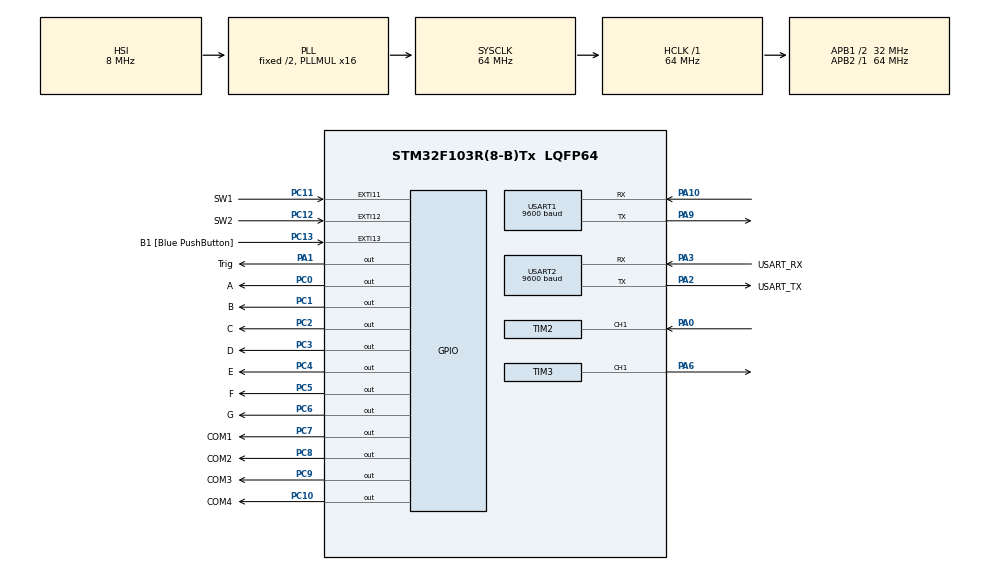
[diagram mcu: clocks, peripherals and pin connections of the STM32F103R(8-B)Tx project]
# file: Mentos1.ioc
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Mcu.Family=STM32F1
Mcu.Name=STM32F103R(8-B)Tx
Mcu.Package=LQFP64
NVIC.EXTI15_10_IRQn=true\:0\:0\:false\:false\:true\:true\:true\:true
NVIC.PriorityGroup=NVIC_PRIORITYGROUP_4
NVIC.TIM2_IRQn=true\:0\:0\:false\:false\:true\:true\:true\:true
PA0-WKUP.Signal=S_TIM2_CH1_ETR
PA1.GPIO_Label=Trig
PA1.Signal=GPIO_Output
PA10.Mode=Asynchronous
PA10.Signal=USART1_RX
PA13.GPIO_Label=TMS
PA13.Mode=Serial_Wire
PA13.Signal=SYS_JTMS-SWDIO
PA14.GPIO_Label=TCK
PA14.Mode=Serial_Wire
PA14.Signal=SYS_JTCK-SWCLK
PA2.GPIO_Label=USART_TX
PA2.GPIO_Mode=GPIO_MODE_AF_PP
PA2.GPIO_PuPd=GPIO_NOPULL
PA2.GPIO_Speed=GPIO_SPEED_FREQ_LOW
PA2.Mode=Asynchronous
PA2.Signal=USART2_TX
PA3.GPIO_Label=USART_RX
PA3.GPIO_Mode=GPIO_MODE_AF_PP
PA3.GPIO_PuPd=GPIO_NOPULL
PA3.GPIO_Speed=GPIO_SPEED_FREQ_LOW
PA3.Mode=Asynchronous
PA3.Signal=USART2_RX
PA6.Signal=S_TIM3_CH1
PA9.Mode=Asynchronous
PA9.Signal=USART1_TX
PC0.GPIO_Label=A
PC0.Signal=GPIO_Output
PC1.GPIO_Label=B
PC1.Signal=GPIO_Output
PC10.GPIO_Label=COM4
PC10.Signal=GPIO_Output
PC11.GPIO_Label=SW1
PC11.Signal=GPXTI11
PC12.GPIO_Label=SW2
PC12.Signal=GPXTI12
PC13-TAMPER-RTC.GPIO_Label=B1 [Blue PushButton]
PC13-TAMPER-RTC.GPIO_PuPd=GPIO_NOPULL
PC13-TAMPER-RTC.Signal=GPXTI13
PC14-OSC32_IN.Mode=LSE-External-Oscillator
PC14-OSC32_IN.Signal=RCC_OSC32_IN
PC15-OSC32_OUT.Mode=LSE-External-Oscillator
PC15-OSC32_OUT.Signal=RCC_OSC32_OUT
PC2.GPIO_Label=C
PC2.Signal=GPIO_Output
PC3.GPIO_Label=D
PC3.Signal=GPIO_Output
PC4.GPIO_Label=E
PC4.Signal=GPIO_Output
PC5.GPIO_Label=F
PC5.Signal=GPIO_Output
PC6.GPIO_Label=G
PC6.Signal=GPIO_Output
PC7.GPIO_Label=COM1
PC7.Signal=GPIO_Output
PC8.GPIO_Label=COM2
PC8.Signal=GPIO_Output
PC9.GPIO_Label=COM3
PC9.Signal=GPIO_Output
PD0-OSC_IN.Mode=HSE-External-Clock-Source
PD0-OSC_IN.Signal=RCC_OSC_IN
PD1-OSC_OUT.Mode=HSE-External-Clock-Source
PD1-OSC_OUT.Signal=RCC_OSC_OUT
ProjectManager.HeapSize=0x200
ProjectManager.StackSize=0x400
ProjectManager.TargetToolchain=STM32CubeIDE
RCC.AHBFreq_Value=64000000
RCC.APB1CLKDivider=RCC_HCLK_DIV2
RCC.APB1Freq_Value=32000000
RCC.APB1TimFreq_Value=64000000
RCC.APB2Freq_Value=64000000
RCC.APB2TimFreq_Value=64000000
RCC.HCLKFreq_Value=64000000
RCC.PLLMUL=RCC_PLL_MUL16
RCC.RTCClockSelection=RCC_RTCCLKSOURCE_LSE
RCC.SYSCLKFreq_VALUE=64000000
RCC.SYSCLKSource=RCC_SYSCLKSOURCE_PLLCLK
RCC.USBFreq_Value=64000000
SH.S_TIM2_CH1_ETR.0=TIM2_CH1,Input_Capture1_from_TI1
SH.S_TIM3_CH1.0=TIM3_CH1,PWM Generation1 CH1
TIM1.Prescaler=64-1
TIM2.Channel-Input_Capture1_from_TI1=TIM_CHANNEL_1
TIM2.Period=65535
TIM2.Prescaler=64-1
TIM3.Channel-PWM\ Generation1\ CH1=TIM_CHANNEL_1
TIM3.Period=20000-1
TIM3.Prescaler=64-1
TIM3.Pulse-PWM\ Generation1\ CH1=2500
USART1.BaudRate=9600
USART1.VirtualMode=VM_ASYNC
USART2.BaudRate=9600
USART2.VirtualMode=VM_ASYNC
VP_TIM1_VS_ClockSourceINT.Mode=Internal
VP_TIM2_VS_ClockSourceINT.Mode=Internal
VP_TIM3_VS_ClockSourceINT.Mode=Internal
board=NUCLEO-F103RB

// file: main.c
/* USER CODE BEGIN Header */
/**
  ******************************************************************************
  * @file           : main.c
  * @brief          : Main program body
  ******************************************************************************
  * @attention
  *
  * Copyright (c) 2022 STMicroelectronics.
  * All rights reserved.
  *
  * This software is licensed under terms that can be found in the LICENSE file
  * in the root directory of this software component.
  * If no LICENSE file comes with this software, it is provided AS-IS.
  *
  ******************************************************************************
  */
/* USER CODE END Header */
#include "main.h"

/* USER CODE BEGIN PD */
#define TxBufferSize (countof(TxBuffer)-1)
#define RxBufferSize 0xFF
#define countof(a)	(sizeof(a) / sizeof(*(a)))
/* USER CODE END PD */

 TIM_HandleTypeDef htim1;
TIM_HandleTypeDef htim2;
TIM_HandleTypeDef htim3;

UART_HandleTypeDef huart1;
UART_HandleTypeDef huart2;

/* USER CODE BEGIN PV */
 int flag_SW1=0;
 int flag_SW2=0;
 int count=0;
 int Mentos =0;

 uint32_t IC1, IC2;
 int CaptureFlag;
 float flag_distance;
 int inventory;
/* USER CODE END PV */

void SystemClock_Config(void);
static void MX_GPIO_Init(void);
static void MX_USART2_UART_Init(void);
static void MX_TIM2_Init(void);
static void MX_TIM3_Init(void);
static void MX_TIM1_Init(void);
static void MX_USART1_UART_Init(void);
/* USER CODE BEGIN PFP */
#ifdef __GNUC__
/* With GCC, small printf (option LD Linker->Libraries->Small printf
   set to 'Yes') calls __io_putchar() */
#define PUTCHAR_PROTOTYPE int __io_putchar(int ch)
#else
#define PUTCHAR_PROTOTYPE int fputc(int ch, FILE *f)
#endif /* __GNUC__ */

PUTCHAR_PROTOTYPE
{
  /* Place your implementation of fputc here */
  /* e.g. write a character to the USART1 and Loop until the end of transmission */
  HAL_UART_Transmit(&huart1, (uint8_t *)&ch, 1, 0xFFFF);

  return ch;
}
/* USER CODE END PFP */

/* USER CODE BEGIN 0 */

void delay_us(uint16_t delay)
{
	__HAL_TIM_SET_COUNTER(&htim1, 0);
	while(__HAL_TIM_GET_COUNTER(&htim1) < delay);
}

void Trig()
{
	HAL_GPIO_WritePin(GPIOA, Trig_Pin, GPIO_PIN_SET);
	delay_us(10);
	HAL_GPIO_WritePin(GPIOA, Trig_Pin, GPIO_PIN_RESET);
}
/* USER CODE END 0 */

int main(void)
{

  /* MCU Configuration--------------------------------------------------------*/

  /* Reset of all peripherals, Initializes the Flash interface and the Systick. */
  HAL_Init();

  /* Configure the system clock */
  SystemClock_Config();

  /* Initialize all configured peripherals */
  MX_GPIO_Init();
  MX_USART2_UART_Init();
  MX_TIM2_Init();
  MX_TIM3_Init();
  MX_TIM1_Init();
  MX_USART1_UART_Init();
  /* USER CODE BEGIN 2 */
  HAL_TIM_PWM_Start(&htim3, TIM_CHANNEL_1);
  HAL_TIM_Base_Start(&htim1);
  HAL_TIM_IC_Start_IT(&htim2, TIM_CHANNEL_1);
  /* USER CODE END 2 */

  /* Infinite loop */
  /* USER CODE BEGIN WHILE */
  while (1)
  {
	Trig();
	printf("%d\r\n", inventory);
	HAL_Delay(250);

	while(flag_SW1==1) //포토인터럽트
	{
		//1
		HAL_GPIO_WritePin(GPIOC, COM1_Pin, GPIO_PIN_RESET);
		HAL_GPIO_WritePin(GPIOC, COM2_Pin, GPIO_PIN_SET);
		HAL_GPIO_WritePin(GPIOC, COM3_Pin, GPIO_PIN_SET);
		HAL_GPIO_WritePin(GPIOC, COM4_Pin, GPIO_PIN_SET);
		HAL_GPIO_WritePin(GPIOC, B_Pin, GPIO_PIN_SET);
		HAL_GPIO_WritePin(GPIOC, C_Pin, GPIO_PIN_SET);
		HAL_Delay(100);
		HAL_GPIO_WritePin(GPIOC, B_Pin, GPIO_PIN_RESET);
		HAL_GPIO_WritePin(GPIOC, C_Pin, GPIO_PIN_RESET);
		//count = 1;
		if(flag_SW2==1) //스위치
		{
			//2
			HAL_GPIO_WritePin(GPIOC, COM1_Pin, GPIO_PIN_SET);
			HAL_GPIO_WritePin(GPIOC, COM2_Pin, GPIO_PIN_RESET);
			HAL_GPIO_WritePin(GPIOC, COM3_Pin, GPIO_PIN_SET);
			HAL_GPIO_WritePin(GPIOC, COM4_Pin, GPIO_PIN_SET);
			HAL_GPIO_WritePin(GPIOC, B_Pin | D_Pin, GPIO_PIN_SET);
			HAL_GPIO_WritePin(GPIOC, A_Pin | E_Pin, GPIO_PIN_SET);
			HAL_GPIO_WritePin(GPIOC, G_Pin, GPIO_PIN_SET);
			HAL_Delay(1000);
			HAL_GPIO_WritePin(GPIOC, B_Pin | D_Pin, GPIO_PIN_RESET);
			HAL_GPIO_WritePin(GPIOC, A_Pin | E_Pin, GPIO_PIN_RESET);
			HAL_GPIO_WritePin(GPIOC, G_Pin, GPIO_PIN_RESET);

			//3
			HAL_GPIO_WritePin(GPIOC, COM1_Pin, GPIO_PIN_SET);
			HAL_GPIO_WritePin(GPIOC, COM2_Pin, GPIO_PIN_SET);
			HAL_GPIO_WritePin(GPIOC, COM3_Pin, GPIO_PIN_RESET);
			HAL_GPIO_WritePin(GPIOC, COM4_Pin, GPIO_PIN_SET);
			HAL_GPIO_WritePin(GPIOC, B_Pin | D_Pin | C_Pin, GPIO_PIN_SET);
			HAL_GPIO_WritePin(GPIOC, A_Pin, GPIO_PIN_SET);
			HAL_GPIO_WritePin(GPIOC, G_Pin, GPIO_PIN_SET);
			HAL_Delay(1000);
			HAL_GPIO_WritePin(GPIOC, B_Pin | D_Pin | C_Pin, GPIO_PIN_RESET);
			HAL_GPIO_WritePin(GPIOC, A_Pin, GPIO_PIN_RESET);
			HAL_GPIO_WritePin(GPIOC, G_Pin, GPIO_PIN_RESET);

			//4
			HAL_GPIO_WritePin(GPIOC, COM1_Pin, GPIO_PIN_SET);
			HAL_GPIO_WritePin(GPIOC, COM2_Pin, GPIO_PIN_SET);
			HAL_GPIO_WritePin(GPIOC, COM3_Pin, GPIO_PIN_SET);
			HAL_GPIO_WritePin(GPIOC, COM4_Pin, GPIO_PIN_RESET);
			HAL_GPIO_WritePin(GPIOC, B_Pin | C_Pin , GPIO_PIN_SET);
			HAL_GPIO_WritePin(GPIOC, F_Pin, GPIO_PIN_SET);
			HAL_GPIO_WritePin(GPIOC, G_Pin, GPIO_PIN_SET);
			HAL_Delay(1000);
			HAL_GPIO_WritePin(GPIOC, B_Pin | C_Pin, GPIO_PIN_RESET);
			HAL_GPIO_WritePin(GPIOC, F_Pin, GPIO_PIN_RESET);
			HAL_GPIO_WritePin(GPIOC, G_Pin, GPIO_PIN_RESET);

			//1
			HAL_GPIO_WritePin(GPIOC, COM1_Pin, GPIO_PIN_RESET);
			HAL_GPIO_WritePin(GPIOC, COM2_Pin, GPIO_PIN_SET);
			HAL_GPIO_WritePin(GPIOC, COM3_Pin, GPIO_PIN_SET);
			HAL_GPIO_WritePin(GPIOC, COM4_Pin, GPIO_PIN_SET);
			HAL_GPIO_WritePin(GPIOC, B_Pin, GPIO_PIN_SET);
			HAL_GPIO_WritePin(GPIOC, C_Pin, GPIO_PIN_SET);
			HAL_Delay(2000);
			HAL_GPIO_WritePin(GPIOC, B_Pin, GPIO_PIN_RESET);
			HAL_GPIO_WritePin(GPIOC, C_Pin, GPIO_PIN_RESET);

			//2
			HAL_GPIO_WritePin(GPIOC, COM1_Pin, GPIO_PIN_SET);
			HAL_GPIO_WritePin(GPIOC, COM2_Pin, GPIO_PIN_RESET);
			HAL_GPIO_WritePin(GPIOC, COM3_Pin, GPIO_PIN_SET);
			HAL_GPIO_WritePin(GPIOC, COM4_Pin, GPIO_PIN_SET);
			HAL_GPIO_WritePin(GPIOC, B_Pin | D_Pin, GPIO_PIN_SET);
			HAL_GPIO_WritePin(GPIOC, A_Pin | E_Pin, GPIO_PIN_SET);
			HAL_GPIO_WritePin(GPIOC, G_Pin, GPIO_PIN_SET);
			HAL_Delay(2000);
			HAL_GPIO_WritePin(GPIOC, B_Pin | D_Pin, GPIO_PIN_RESET);
			HAL_GPIO_WritePin(GPIOC, A_Pin | E_Pin, GPIO_PIN_RESET);
			HAL_GPIO_WritePin(GPIOC, G_Pin, GPIO_PIN_RESET);
			flag_SW1=0;
			flag_SW2=0;
			Mentos = 2;
			//printf("Mentos = %ld\r\n", Mentos);
			//buzzer
			for(int i=0; i<Mentos; i++)
			{
				__HAL_TIM_SetCompare(&htim3, TIM_CHANNEL_1, 500);
				HAL_Delay(1000);
				__HAL_TIM_SetCompare(&htim3, TIM_CHANNEL_1, 2500);
				HAL_Delay(1000);

			}
			break;
		}

		//2 ?��그먼?��
		HAL_GPIO_WritePin(GPIOC, COM1_Pin, GPIO_PIN_SET);
		HAL_GPIO_WritePin(GPIOC, COM2_Pin, GPIO_PIN_RESET);
		HAL_GPIO_WritePin(GPIOC, COM3_Pin, GPIO_PIN_SET);
		HAL_GPIO_WritePin(GPIOC, COM4_Pin, GPIO_PIN_SET);
		HAL_GPIO_WritePin(GPIOC, B_Pin | D_Pin, GPIO_PIN_SET);
		HAL_GPIO_WritePin(GPIOC, A_Pin | E_Pin, GPIO_PIN_SET);
		HAL_GPIO_WritePin(GPIOC, G_Pin, GPIO_PIN_SET);
		HAL_Delay(100);
		HAL_GPIO_WritePin(GPIOC, B_Pin | D_Pin, GPIO_PIN_RESET);
		HAL_GPIO_WritePin(GPIOC, A_Pin | E_Pin, GPIO_PIN_RESET);
		HAL_GPIO_WritePin(GPIOC, G_Pin, GPIO_PIN_RESET);
		count = 2;
		if(flag_SW2==1)
		{
			//3
			HAL_GPIO_WritePin(GPIOC, COM1_Pin, GPIO_PIN_SET);
			HAL_GPIO_WritePin(GPIOC, COM2_Pin, GPIO_PIN_SET);
			HAL_GPIO_WritePin(GPIOC, COM3_Pin, GPIO_PIN_RESET);
			HAL_GPIO_WritePin(GPIOC, COM4_Pin, GPIO_PIN_SET);
			HAL_GPIO_WritePin(GPIOC, B_Pin | D_Pin | C_Pin, GPIO_PIN_SET);
			HAL_GPIO_WritePin(GPIOC, A_Pin, GPIO_PIN_SET);
			HAL_GPIO_WritePin(GPIOC, G_Pin, GPIO_PIN_SET);
			HAL_Delay(1000);
			HAL_GPIO_WritePin(GPIOC, B_Pin | D_Pin | C_Pin, GPIO_PIN_RESET);
			HAL_GPIO_WritePin(GPIOC, A_Pin, GPIO_PIN_RESET);
			HAL_GPIO_WritePin(GPIOC, G_Pin, GPIO_PIN_RESET);

			//4
			HAL_GPIO_WritePin(GPIOC, COM1_Pin, GPIO_PIN_SET);
			HAL_GPIO_WritePin(GPIOC, COM2_Pin, GPIO_PIN_SET);
			HAL_GPIO_WritePin(GPIOC, COM3_Pin, GPIO_PIN_SET);
			HAL_GPIO_WritePin(GPIOC, COM4_Pin, GPIO_PIN_RESET);
			HAL_GPIO_WritePin(GPIOC, B_Pin | C_Pin , GPIO_PIN_SET);
			HAL_GPIO_WritePin(GPIOC, F_Pin, GPIO_PIN_SET);
			HAL_GPIO_WritePin(GPIOC, G_Pin, GPIO_PIN_SET);
			HAL_Delay(1000);
			HAL_GPIO_WritePin(GPIOC, B_Pin | C_Pin, GPIO_PIN_RESET);
			HAL_GPIO_WritePin(GPIOC, F_Pin, GPIO_PIN_RESET);
			HAL_GPIO_WritePin(GPIOC, G_Pin, GPIO_PIN_RESET);

			//1
			HAL_GPIO_WritePin(GPIOC, COM1_Pin, GPIO_PIN_RESET);
			HAL_GPIO_WritePin(GPIOC, COM2_Pin, GPIO_PIN_SET);
			HAL_GPIO_WritePin(GPIOC, COM3_Pin, GPIO_PIN_SET);
			HAL_GPIO_WritePin(GPIOC, COM4_Pin, GPIO_PIN_SET);
			HAL_GPIO_WritePin(GPIOC, B_Pin, GPIO_PIN_SET);
			HAL_GPIO_WritePin(GPIOC, C_Pin, GPIO_PIN_SET);
			HAL_Delay(1000);
			HAL_GPIO_WritePin(GPIOC, B_Pin, GPIO_PIN_RESET);
			HAL_GPIO_WritePin(GPIOC, C_Pin, GPIO_PIN_RESET);

			//2
			HAL_GPIO_WritePin(GPIOC, COM1_Pin, GPIO_PIN_SET);
			HAL_GPIO_WritePin(GPIOC, COM2_Pin, GPIO_PIN_RESET);
			HAL_GPIO_WritePin(GPIOC, COM3_Pin, GPIO_PIN_SET);
			HAL_GPIO_WritePin(GPIOC, COM4_Pin, GPIO_PIN_SET);
			HAL_GPIO_WritePin(GPIOC, B_Pin | D_Pin, GPIO_PIN_SET);
			HAL_GPIO_WritePin(GPIOC, A_Pin | E_Pin, GPIO_PIN_SET);
			HAL_GPIO_WritePin(GPIOC, G_Pin, GPIO_PIN_SET);
			HAL_Delay(2000);
			HAL_GPIO_WritePin(GPIOC, B_Pin | D_Pin, GPIO_PIN_RESET);
			HAL_GPIO_WritePin(GPIOC, A_Pin | E_Pin, GPIO_PIN_RESET);
			HAL_GPIO_WritePin(GPIOC, G_Pin, GPIO_PIN_RESET);

			//3
			HAL_GPIO_WritePin(GPIOC, COM1_Pin, GPIO_PIN_SET);
			HAL_GPIO_WritePin(GPIOC, COM2_Pin, GPIO_PIN_SET);
			HAL_GPIO_WritePin(GPIOC, COM3_Pin, GPIO_PIN_RESET);
			HAL_GPIO_WritePin(GPIOC, COM4_Pin, GPIO_PIN_SET);
			HAL_GPIO_WritePin(GPIOC, B_Pin | D_Pin | C_Pin, GPIO_PIN_SET);
			HAL_GPIO_WritePin(GPIOC, A_Pin, GPIO_PIN_SET);
			HAL_GPIO_WritePin(GPIOC, G_Pin, GPIO_PIN_SET);
			HAL_Delay(2000);
			HAL_GPIO_WritePin(GPIOC, B_Pin | D_Pin | C_Pin, GPIO_PIN_RESET);
			HAL_GPIO_WritePin(GPIOC, A_Pin, GPIO_PIN_RESET);
			HAL_GPIO_WritePin(GPIOC, G_Pin, GPIO_PIN_RESET);
			Mentos = 3;
			//printf("Mentos = %ld\r\n", Mentos);
			//buzzer
			for(int i=0; i<Mentos; i++)
			{
				__HAL_TIM_SetCompare(&htim3, TIM_CHANNEL_1, 500);
				HAL_Delay(1000);
				__HAL_TIM_SetCompare(&htim3, TIM_CHANNEL_1, 2500);
				HAL_Delay(1000);
			}
			flag_SW1=0;
			flag_SW2=0;
			break;
		}

		//3 ?��그먼?��
		HAL_GPIO_WritePin(GPIOC, COM1_Pin, GPIO_PIN_SET);
		HAL_GPIO_WritePin(GPIOC, COM2_Pin, GPIO_PIN_SET);
		HAL_GPIO_WritePin(GPIOC, COM3_Pin, GPIO_PIN_RESET);
		HAL_GPIO_WritePin(GPIOC, COM4_Pin, GPIO_PIN_SET);
		HAL_GPIO_WritePin(GPIOC, B_Pin | D_Pin | C_Pin, GPIO_PIN_SET);
		HAL_GPIO_WritePin(GPIOC, A_Pin, GPIO_PIN_SET);
		HAL_GPIO_WritePin(GPIOC, G_Pin, GPIO_PIN_SET);
		HAL_Delay(100);
		HAL_GPIO_WritePin(GPIOC, B_Pin | D_Pin | C_Pin, GPIO_PIN_RESET);
		HAL_GPIO_WritePin(GPIOC, A_Pin, GPIO_PIN_RESET);
		HAL_GPIO_WritePin(GPIOC, G_Pin, GPIO_PIN_RESET);
		count = 3;
		if(flag_SW2==1)
		{
			//4
			HAL_GPIO_WritePin(GPIOC, COM1_Pin, GPIO_PIN_SET);
			HAL_GPIO_WritePin(GPIOC, COM2_Pin, GPIO_PIN_SET);
			HAL_GPIO_WritePin(GPIOC, COM3_Pin, GPIO_PIN_SET);
			HAL_GPIO_WritePin(GPIOC, COM4_Pin, GPIO_PIN_RESET);
			HAL_GPIO_WritePin(GPIOC, B_Pin | C_Pin , GPIO_PIN_SET);
			HAL_GPIO_WritePin(GPIOC, F_Pin, GPIO_PIN_SET);
			HAL_GPIO_WritePin(GPIOC, G_Pin, GPIO_PIN_SET);
			HAL_Delay(1000);
			HAL_GPIO_WritePin(GPIOC, B_Pin | C_Pin, GPIO_PIN_RESET);
			HAL_GPIO_WritePin(GPIOC, F_Pin, GPIO_PIN_RESET);
			HAL_GPIO_WritePin(GPIOC, G_Pin, GPIO_PIN_RESET);

			//1
			HAL_GPIO_WritePin(GPIOC, COM1_Pin, GPIO_PIN_RESET);
			HAL_GPIO_WritePin(GPIOC, COM2_Pin, GPIO_PIN_SET);
			HAL_GPIO_WritePin(GPIOC, COM3_Pin, GPIO_PIN_SET);
			HAL_GPIO_WritePin(GPIOC, COM4_Pin, GPIO_PIN_SET);
			HAL_GPIO_WritePin(GPIOC, B_Pin, GPIO_PIN_SET);
			HAL_GPIO_WritePin(GPIOC, C_Pin, GPIO_PIN_SET);
			HAL_Delay(1000);
			HAL_GPIO_WritePin(GPIOC, B_Pin, GPIO_PIN_RESET);
			HAL_GPIO_WritePin(GPIOC, C_Pin, GPIO_PIN_RESET);

			//2
			HAL_GPIO_WritePin(GPIOC, COM1_Pin, GPIO_PIN_SET);
			HAL_GPIO_WritePin(GPIOC, COM2_Pin, GPIO_PIN_RESET);
			HAL_GPIO_WritePin(GPIOC, COM3_Pin, GPIO_PIN_SET);
			HAL_GPIO_WritePin(GPIOC, COM4_Pin, GPIO_PIN_SET);
			HAL_GPIO_WritePin(GPIOC, B_Pin | D_Pin, GPIO_PIN_SET);
			HAL_GPIO_WritePin(GPIOC, A_Pin | E_Pin, GPIO_PIN_SET);
			HAL_GPIO_WritePin(GPIOC, G_Pin, GPIO_PIN_SET);
			HAL_Delay(1000);
			HAL_GPIO_WritePin(GPIOC, B_Pin | D_Pin, GPIO_PIN_RESET);
			HAL_GPIO_WritePin(GPIOC, A_Pin | E_Pin, GPIO_PIN_RESET);
			HAL_GPIO_WritePin(GPIOC, G_Pin, GPIO_PIN_RESET);

			//3
			HAL_GPIO_WritePin(GPIOC, COM1_Pin, GPIO_PIN_SET);
			HAL_GPIO_WritePin(GPIOC, COM2_Pin, GPIO_PIN_SET);
			HAL_GPIO_WritePin(GPIOC, COM3_Pin, GPIO_PIN_RESET);
			HAL_GPIO_WritePin(GPIOC, COM4_Pin, GPIO_PIN_SET);
			HAL_GPIO_WritePin(GPIOC, B_Pin | D_Pin | C_Pin, GPIO_PIN_SET);
			HAL_GPIO_WritePin(GPIOC, A_Pin, GPIO_PIN_SET);
			HAL_GPIO_WritePin(GPIOC, G_Pin, GPIO_PIN_SET);
			HAL_Delay(2000);
			HAL_GPIO_WritePin(GPIOC, B_Pin | D_Pin | C_Pin, GPIO_PIN_RESET);
			HAL_GPIO_WritePin(GPIOC, A_Pin, GPIO_PIN_RESET);
			HAL_GPIO_WritePin(GPIOC, G_Pin, GPIO_PIN_RESET);

			//4
			HAL_GPIO_WritePin(GPIOC, COM1_Pin, GPIO_PIN_SET);
			HAL_GPIO_WritePin(GPIOC, COM2_Pin, GPIO_PIN_SET);
			HAL_GPIO_WritePin(GPIOC, COM3_Pin, GPIO_PIN_SET);
			HAL_GPIO_WritePin(GPIOC, COM4_Pin, GPIO_PIN_RESET);
			HAL_GPIO_WritePin(GPIOC, B_Pin | C_Pin , GPIO_PIN_SET);
			HAL_GPIO_WritePin(GPIOC, F_Pin, GPIO_PIN_SET);
			HAL_GPIO_WritePin(GPIOC, G_Pin, GPIO_PIN_SET);
			HAL_Delay(2000);
			HAL_GPIO_WritePin(GPIOC, B_Pin | C_Pin, GPIO_PIN_RESET);
			HAL_GPIO_WritePin(GPIOC, F_Pin, GPIO_PIN_RESET);
			HAL_GPIO_WritePin(GPIOC, G_Pin, GPIO_PIN_RESET);
			Mentos = 4;
			//printf("Mentos = %ld\r\n", Mentos);
			//buzzer

			for(int i=0; i<Mentos; i++)
			{
				__HAL_TIM_SetCompare(&htim3, TIM_CHANNEL_1, 500);
				HAL_Delay(1000);
				__HAL_TIM_SetCompare(&htim3, TIM_CHANNEL_1, 2500);
				HAL_Delay(1000);
			}
			flag_SW1=0;
			flag_SW2=0;
			break;
		}

		//4 ?��그먼?��
		HAL_GPIO_WritePin(GPIOC, COM1_Pin, GPIO_PIN_SET);
		HAL_GPIO_WritePin(GPIOC, COM2_Pin, GPIO_PIN_SET);
		HAL_GPIO_WritePin(GPIOC, COM3_Pin, GPIO_PIN_SET);
		HAL_GPIO_WritePin(GPIOC, COM4_Pin, GPIO_PIN_RESET);
		HAL_GPIO_WritePin(GPIOC, B_Pin | C_Pin , GPIO_PIN_SET);
		HAL_GPIO_WritePin(GPIOC, F_Pin, GPIO_PIN_SET);
		HAL_GPIO_WritePin(GPIOC, G_Pin, GPIO_PIN_SET);
		HAL_Delay(100);
		HAL_GPIO_WritePin(GPIOC, B_Pin | C_Pin, GPIO_PIN_RESET);
		HAL_GPIO_WritePin(GPIOC, F_Pin, GPIO_PIN_RESET);
		HAL_GPIO_WritePin(GPIOC, G_Pin, GPIO_PIN_RESET);
		count = 4;
		if(flag_SW2==1)
		{
			//1
			HAL_GPIO_WritePin(GPIOC, COM1_Pin, GPIO_PIN_RESET);
			HAL_GPIO_WritePin(GPIOC, COM2_Pin, GPIO_PIN_SET);
			HAL_GPIO_WritePin(GPIOC, COM3_Pin, GPIO_PIN_SET);
			HAL_GPIO_WritePin(GPIOC, COM4_Pin, GPIO_PIN_SET);
			HAL_GPIO_WritePin(GPIOC, B_Pin, GPIO_PIN_SET);
			HAL_GPIO_WritePin(GPIOC, C_Pin, GPIO_PIN_SET);
			HAL_Delay(1000);
			HAL_GPIO_WritePin(GPIOC, B_Pin, GPIO_PIN_RESET);
			HAL_GPIO_WritePin(GPIOC, C_Pin, GPIO_PIN_RESET);

			//2
			HAL_GPIO_WritePin(GPIOC, COM1_Pin, GPIO_PIN_SET);
			HAL_GPIO_WritePin(GPIOC, COM2_Pin, GPIO_PIN_RESET);
			HAL_GPIO_WritePin(GPIOC, COM3_Pin, GPIO_PIN_SET);
			HAL_GPIO_WritePin(GPIOC, COM4_Pin, GPIO_PIN_SET);
			HAL_GPIO_WritePin(GPIOC, B_Pin | D_Pin, GPIO_PIN_SET);
			HAL_GPIO_WritePin(GPIOC, A_Pin | E_Pin, GPIO_PIN_SET);
			HAL_GPIO_WritePin(GPIOC, G_Pin, GPIO_PIN_SET);
			HAL_Delay(1000);
			HAL_GPIO_WritePin(GPIOC, B_Pin | D_Pin, GPIO_PIN_RESET);
			HAL_GPIO_WritePin(GPIOC, A_Pin | E_Pin, GPIO_PIN_RESET);
			HAL_GPIO_WritePin(GPIOC, G_Pin, GPIO_PIN_RESET);

			//3
			HAL_GPIO_WritePin(GPIOC, COM1_Pin, GPIO_PIN_SET);
			HAL_GPIO_WritePin(GPIOC, COM2_Pin, GPIO_PIN_SET);
			HAL_GPIO_WritePin(GPIOC, COM3_Pin, GPIO_PIN_RESET);
			HAL_GPIO_WritePin(GPIOC, COM4_Pin, GPIO_PIN_SET);
			HAL_GPIO_WritePin(GPIOC, B_Pin | D_Pin | C_Pin, GPIO_PIN_SET);
			HAL_GPIO_WritePin(GPIOC, A_Pin, GPIO_PIN_SET);
			HAL_GPIO_WritePin(GPIOC, G_Pin, GPIO_PIN_SET);
			HAL_Delay(1000);
			HAL_GPIO_WritePin(GPIOC, B_Pin | D_Pin | C_Pin, GPIO_PIN_RESET);
			HAL_GPIO_WritePin(GPIOC, A_Pin, GPIO_PIN_RESET);
			HAL_GPIO_WritePin(GPIOC, G_Pin, GPIO_PIN_RESET);

			//4
			HAL_GPIO_WritePin(GPIOC, COM1_Pin, GPIO_PIN_SET);
			HAL_GPIO_WritePin(GPIOC, COM2_Pin, GPIO_PIN_SET);
			HAL_GPIO_WritePin(GPIOC, COM3_Pin, GPIO_PIN_SET);
			HAL_GPIO_WritePin(GPIOC, COM4_Pin, GPIO_PIN_RESET);
			HAL_GPIO_WritePin(GPIOC, B_Pin | C_Pin , GPIO_PIN_SET);
			HAL_GPIO_WritePin(GPIOC, F_Pin, GPIO_PIN_SET);
			HAL_GPIO_WritePin(GPIOC, G_Pin, GPIO_PIN_SET);
			HAL_Delay(2000);
			HAL_GPIO_WritePin(GPIOC, B_Pin | C_Pin, GPIO_PIN_RESET);
			HAL_GPIO_WritePin(GPIOC, F_Pin, GPIO_PIN_RESET);
			HAL_GPIO_WritePin(GPIOC, G_Pin, GPIO_PIN_RESET);

			//1
			HAL_GPIO_WritePin(GPIOC, COM1_Pin, GPIO_PIN_RESET);
			HAL_GPIO_WritePin(GPIOC, COM2_Pin, GPIO_PIN_SET);
			HAL_GPIO_WritePin(GPIOC, COM3_Pin, GPIO_PIN_SET);
			HAL_GPIO_WritePin(GPIOC, COM4_Pin, GPIO_PIN_SET);
			HAL_GPIO_WritePin(GPIOC, B_Pin, GPIO_PIN_SET);
			HAL_GPIO_WritePin(GPIOC, C_Pin, GPIO_PIN_SET);
			HAL_Delay(2000);
			HAL_GPIO_WritePin(GPIOC, B_Pin, GPIO_PIN_RESET);
			HAL_GPIO_WritePin(GPIOC, C_Pin, GPIO_PIN_RESET);
			Mentos = 1;
			flag_SW1=0;
			flag_SW2=0;
			//printf("Mentos = %ld\r\n", Mentos);
			//buzzer
			for(int i=0; i<Mentos; i++)
			{
				__HAL_TIM_SetCompare(&htim3, TIM_CHANNEL_1, 500);
				HAL_Delay(1000);
				__HAL_TIM_SetCompare(&htim3, TIM_CHANNEL_1, 2500);
				HAL_Delay(1000);
			}
			break;
		}

	}
    /* USER CODE END WHILE */

  }
}

void SystemClock_Config(void)
{
  RCC_OscInitTypeDef RCC_OscInitStruct = {0};
  RCC_ClkInitTypeDef RCC_ClkInitStruct = {0};

  /** Initializes the RCC Oscillators according to the specified parameters
  * in the RCC_OscInitTypeDef structure.
  */
  RCC_OscInitStruct.OscillatorType = RCC_OSCILLATORTYPE_HSI;
  RCC_OscInitStruct.HSIState = RCC_HSI_ON;
  RCC_OscInitStruct.HSICalibrationValue = RCC_HSICALIBRATION_DEFAULT;
  RCC_OscInitStruct.PLL.PLLState = RCC_PLL_ON;
  RCC_OscInitStruct.PLL.PLLSource = RCC_PLLSOURCE_HSI_DIV2;
  RCC_OscInitStruct.PLL.PLLMUL = RCC_PLL_MUL16;
  if (HAL_RCC_OscConfig(&RCC_OscInitStruct) != HAL_OK)
  {
    Error_Handler();
  }

  /** Initializes the CPU, AHB and APB buses clocks
  */
  RCC_ClkInitStruct.ClockType = RCC_CLOCKTYPE_HCLK|RCC_CLOCKTYPE_SYSCLK
                              |RCC_CLOCKTYPE_PCLK1|RCC_CLOCKTYPE_PCLK2;
  RCC_ClkInitStruct.SYSCLKSource = RCC_SYSCLKSOURCE_PLLCLK;
  RCC_ClkInitStruct.AHBCLKDivider = RCC_SYSCLK_DIV1;
  RCC_ClkInitStruct.APB1CLKDivider = RCC_HCLK_DIV2;
  RCC_ClkInitStruct.APB2CLKDivider = RCC_HCLK_DIV1;

  if (HAL_RCC_ClockConfig(&RCC_ClkInitStruct, FLASH_LATENCY_2) != HAL_OK)
  {
    Error_Handler();
  }
}

static void MX_TIM1_Init(void)
{

  TIM_ClockConfigTypeDef sClockSourceConfig = {0};
  TIM_MasterConfigTypeDef sMasterConfig = {0};

  htim1.Instance = TIM1;
  htim1.Init.Prescaler = 64-1;
  htim1.Init.CounterMode = TIM_COUNTERMODE_UP;
  htim1.Init.Period = 65535;
  htim1.Init.ClockDivision = TIM_CLOCKDIVISION_DIV1;
  htim1.Init.RepetitionCounter = 0;
  htim1.Init.AutoReloadPreload = TIM_AUTORELOAD_PRELOAD_DISABLE;
  if (HAL_TIM_Base_Init(&htim1) != HAL_OK)
  {
    Error_Handler();
  }
  sClockSourceConfig.ClockSource = TIM_CLOCKSOURCE_INTERNAL;
  if (HAL_TIM_ConfigClockSource(&htim1, &sClockSourceConfig) != HAL_OK)
  {
    Error_Handler();
  }
  sMasterConfig.MasterOutputTrigger = TIM_TRGO_RESET;
  sMasterConfig.MasterSlaveMode = TIM_MASTERSLAVEMODE_DISABLE;
  if (HAL_TIMEx_MasterConfigSynchronization(&htim1, &sMasterConfig) != HAL_OK)
  {
    Error_Handler();
  }

}

static void MX_TIM2_Init(void)
{

  TIM_ClockConfigTypeDef sClockSourceConfig = {0};
  TIM_MasterConfigTypeDef sMasterConfig = {0};
  TIM_IC_InitTypeDef sConfigIC = {0};

  htim2.Instance = TIM2;
  htim2.Init.Prescaler = 64-1;
  htim2.Init.CounterMode = TIM_COUNTERMODE_UP;
  htim2.Init.Period = 65535;
  htim2.Init.ClockDivision = TIM_CLOCKDIVISION_DIV1;
  htim2.Init.AutoReloadPreload = TIM_AUTORELOAD_PRELOAD_DISABLE;
  if (HAL_TIM_Base_Init(&htim2) != HAL_OK)
  {
    Error_Handler();
  }
  sClockSourceConfig.ClockSource = TIM_CLOCKSOURCE_INTERNAL;
  if (HAL_TIM_ConfigClockSource(&htim2, &sClockSourceConfig) != HAL_OK)
  {
    Error_Handler();
  }
  if (HAL_TIM_IC_Init(&htim2) != HAL_OK)
  {
    Error_Handler();
  }
  sMasterConfig.MasterOutputTrigger = TIM_TRGO_RESET;
  sMasterConfig.MasterSlaveMode = TIM_MASTERSLAVEMODE_DISABLE;
  if (HAL_TIMEx_MasterConfigSynchronization(&htim2, &sMasterConfig) != HAL_OK)
  {
    Error_Handler();
  }
  sConfigIC.ICPolarity = TIM_INPUTCHANNELPOLARITY_RISING;
  sConfigIC.ICSelection = TIM_ICSELECTION_DIRECTTI;
  sConfigIC.ICPrescaler = TIM_ICPSC_DIV1;
  sConfigIC.ICFilter = 0;
  if (HAL_TIM_IC_ConfigChannel(&htim2, &sConfigIC, TIM_CHANNEL_1) != HAL_OK)
  {
    Error_Handler();
  }

}

static void MX_TIM3_Init(void)
{

  TIM_ClockConfigTypeDef sClockSourceConfig = {0};
  TIM_MasterConfigTypeDef sMasterConfig = {0};
  TIM_OC_InitTypeDef sConfigOC = {0};

  htim3.Instance = TIM3;
  htim3.Init.Prescaler = 64-1;
  htim3.Init.CounterMode = TIM_COUNTERMODE_UP;
  htim3.Init.Period = 20000-1;
  htim3.Init.ClockDivision = TIM_CLOCKDIVISION_DIV1;
  htim3.Init.AutoReloadPreload = TIM_AUTORELOAD_PRELOAD_DISABLE;
  if (HAL_TIM_Base_Init(&htim3) != HAL_OK)
  {
    Error_Handler();
  }
  sClockSourceConfig.ClockSource = TIM_CLOCKSOURCE_INTERNAL;
  if (HAL_TIM_ConfigClockSource(&htim3, &sClockSourceConfig) != HAL_OK)
  {
    Error_Handler();
  }
  if (HAL_TIM_PWM_Init(&htim3) != HAL_OK)
  {
    Error_Handler();
  }
  sMasterConfig.MasterOutputTrigger = TIM_TRGO_RESET;
  sMasterConfig.MasterSlaveMode = TIM_MASTERSLAVEMODE_DISABLE;
  if (HAL_TIMEx_MasterConfigSynchronization(&htim3, &sMasterConfig) != HAL_OK)
  {
    Error_Handler();
  }
  sConfigOC.OCMode = TIM_OCMODE_PWM1;
  sConfigOC.Pulse = 2500;
  sConfigOC.OCPolarity = TIM_OCPOLARITY_HIGH;
  sConfigOC.OCFastMode = TIM_OCFAST_DISABLE;
  if (HAL_TIM_PWM_ConfigChannel(&htim3, &sConfigOC, TIM_CHANNEL_1) != HAL_OK)
  {
    Error_Handler();
  }
  HAL_TIM_MspPostInit(&htim3);

}

static void MX_USART1_UART_Init(void)
{

  huart1.Instance = USART1;
  huart1.Init.BaudRate = 9600;
  huart1.Init.WordLength = UART_WORDLENGTH_8B;
  huart1.Init.StopBits = UART_STOPBITS_1;
  huart1.Init.Parity = UART_PARITY_NONE;
  huart1.Init.Mode = UART_MODE_TX_RX;
  huart1.Init.HwFlowCtl = UART_HWCONTROL_NONE;
  huart1.Init.OverSampling = UART_OVERSAMPLING_16;
  if (HAL_UART_Init(&huart1) != HAL_OK)
  {
    Error_Handler();
  }

}

static void MX_USART2_UART_Init(void)
{

  huart2.Instance = USART2;
  huart2.Init.BaudRate = 9600;
  huart2.Init.WordLength = UART_WORDLENGTH_8B;
  huart2.Init.StopBits = UART_STOPBITS_1;
  huart2.Init.Parity = UART_PARITY_NONE;
  huart2.Init.Mode = UART_MODE_TX_RX;
  huart2.Init.HwFlowCtl = UART_HWCONTROL_NONE;
  huart2.Init.OverSampling = UART_OVERSAMPLING_16;
  if (HAL_UART_Init(&huart2) != HAL_OK)
  {
    Error_Handler();
  }

}

static void MX_GPIO_Init(void)
{
  GPIO_InitTypeDef GPIO_InitStruct = {0};

  /* GPIO Ports Clock Enable */
  __HAL_RCC_GPIOC_CLK_ENABLE();
  __HAL_RCC_GPIOD_CLK_ENABLE();
  __HAL_RCC_GPIOA_CLK_ENABLE();

  /*Configure GPIO pin Output Level */
  HAL_GPIO_WritePin(GPIOC, A_Pin|B_Pin|C_Pin|D_Pin
                          |E_Pin|F_Pin|G_Pin|COM1_Pin
                          |COM2_Pin|COM3_Pin|COM4_Pin, GPIO_PIN_RESET);

  /*Configure GPIO pin Output Level */
  HAL_GPIO_WritePin(Trig_GPIO_Port, Trig_Pin, GPIO_PIN_RESET);

  /*Configure GPIO pins : B1_Pin SW1_Pin SW2_Pin */
  GPIO_InitStruct.Pin = B1_Pin|SW1_Pin|SW2_Pin;
  GPIO_InitStruct.Mode = GPIO_MODE_IT_RISING;
  GPIO_InitStruct.Pull = GPIO_NOPULL;
  HAL_GPIO_Init(GPIOC, &GPIO_InitStruct);

  /*Configure GPIO pins : A_Pin B_Pin C_Pin D_Pin
                           E_Pin F_Pin G_Pin COM1_Pin
                           COM2_Pin COM3_Pin COM4_Pin */
  GPIO_InitStruct.Pin = A_Pin|B_Pin|C_Pin|D_Pin
                          |E_Pin|F_Pin|G_Pin|COM1_Pin
                          |COM2_Pin|COM3_Pin|COM4_Pin;
  GPIO_InitStruct.Mode = GPIO_MODE_OUTPUT_PP;
  GPIO_InitStruct.Pull = GPIO_NOPULL;
  GPIO_InitStruct.Speed = GPIO_SPEED_FREQ_LOW;
  HAL_GPIO_Init(GPIOC, &GPIO_InitStruct);

  /*Configure GPIO pin : Trig_Pin */
  GPIO_InitStruct.Pin = Trig_Pin;
  GPIO_InitStruct.Mode = GPIO_MODE_OUTPUT_PP;
  GPIO_InitStruct.Pull = GPIO_NOPULL;
  GPIO_InitStruct.Speed = GPIO_SPEED_FREQ_LOW;
  HAL_GPIO_Init(Trig_GPIO_Port, &GPIO_InitStruct);

  /* EXTI interrupt init*/
  HAL_NVIC_SetPriority(EXTI15_10_IRQn, 0, 0);
  HAL_NVIC_EnableIRQ(EXTI15_10_IRQn);

}

/* USER CODE BEGIN 4 */
void HAL_GPIO_EXTI_Callback(uint16_t GPIO_Pin)
{
	if(GPIO_Pin==SW1_Pin)
	{
		flag_SW1 = 1;
	}
	if(GPIO_Pin==SW2_Pin)
	{
		flag_SW2 = 1;
	}
}
void HAL_TIM_IC_CaptureCallback(TIM_HandleTypeDef *htim)
{
	if (htim->Channel == HAL_TIM_ACTIVE_CHANNEL_1)
	{
		if (CaptureFlag == 0)
		{
			IC1 = TIM2->CCR1;
			CaptureFlag = 1;
			__HAL_TIM_SET_CAPTUREPOLARITY(&htim2, TIM_CHANNEL_1, TIM_INPUTCHANNELPOLARITY_FALLING);
		}

		else if (CaptureFlag == 1)
		{
			IC2 = TIM2->CCR1;
			flag_distance = 340 * (IC2 - IC1) * 0.000001 / 2 * 100;
			if(flag_distance >= 15)
			{
				inventory = 1;
			}
			if(flag_distance < 15)
			{
				inventory = 0;
			}
			__HAL_TIM_SET_COUNTER(&htim2, 0);
			CaptureFlag = 0;
			__HAL_TIM_SET_CAPTUREPOLARITY(&htim2, TIM_CHANNEL_1, TIM_INPUTCHANNELPOLARITY_RISING);
		}
	}
}
/* USER CODE END 4 */

void Error_Handler(void)
{
  __disable_irq();
  while (1)
  {
  }
}
